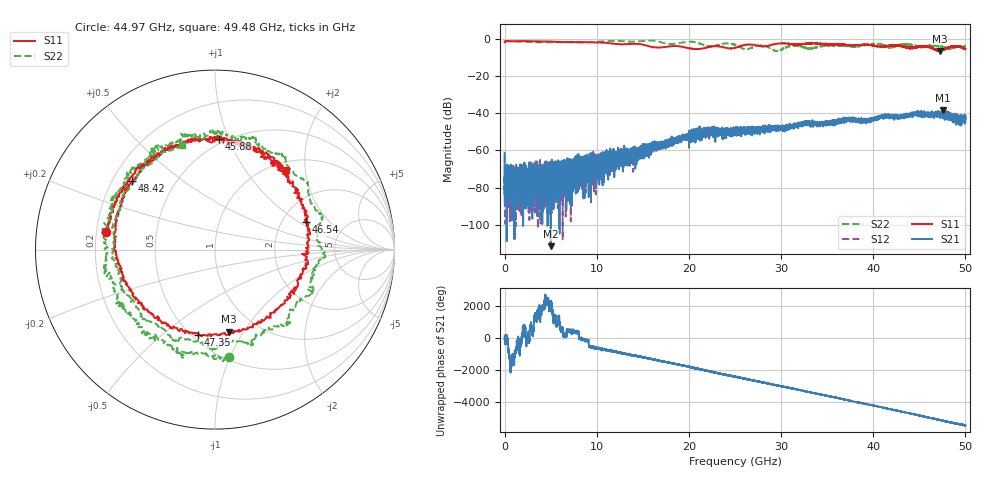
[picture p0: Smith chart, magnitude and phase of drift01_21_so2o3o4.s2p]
!Created with skrf (http://scikit-rf.org).
# Hz S RI R 50.0
!freq ReS11 ImS11 ReS21 ImS21 ReS12 ImS12 ReS22 ImS22
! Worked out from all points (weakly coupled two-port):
!   10001 points, 300 kHz to 50 GHz, reference 50 ohm
!   highest |S21| = -38.59 dB at 47.58 GHz (marker M1); lowest = -111.4 dB at 5 GHz (marker M2)
!   lowest |S11| = -6.7 dB at 47.21 GHz (marker M3), VSWR 2.73, Z = 37 - j43.1 ohm
!   |S11| at or under -10 dB: nowhere
!   |S22| runs from -6.8 to -1.0 dB; largest |S21 - S12| = 0.0042
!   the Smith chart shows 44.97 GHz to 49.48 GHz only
!   S11 on the Smith chart (normalised r, x): 44.97 GHz: 0.24, +0.07; 45.88 GHz: 0.46, +0.92; 46.54 GHz: 2.69, +1.14; 47.35 GHz: 0.54, -0.67; 48.42 GHz: 0.28, +0.33; 49.48 GHz: 1.14, +1.58
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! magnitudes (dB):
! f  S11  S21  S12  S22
! 300 kHz  -2.0  -61.4  -62.5  -1.3
! 325.3 MHz  -1.4  -78.4  -84.6  -1.3
! 5 GHz  -1.7  -111.4  -78.9  -2.1
! 8.335 GHz  -1.9  -73.9  -64.4  -2.1
! 16.67 GHz  -4.8  -57.6  -58.3  -1.6
! 21.84 GHz  -5.0  -51.1  -50.1  -3.8
! 25 GHz  -5.0  -49.6  -50.9  -3.4
! 26.18 GHz  -3.4  -47.8  -49.4  -5.7
! 28.09 GHz  -4.3  -48.0  -49.3  -3.8
! 29.52 GHz  -2.9  -47.3  -47.9  -6.7
! 31.27 GHz  -3.0  -46.9  -47.3  -4.0
! 33.34 GHz  -2.6  -46.2  -45.3  -5.5
! 41.67 GHz  -3.9  -41.1  -41.3  -4.5
! 44.97 GHz  -4.2  -40.4  -40.1  -4.4
! 45.88 GHz  -4.2  -40.6  -41.6  -4.2
! 46.54 GHz  -5.6  -41.2  -40.9  -3.9
! 47.21 GHz  -6.7  -40.3  -40.3  -4.6
! 47.35 GHz  -6.3  -40.8  -41.7  -4.7
! 47.58 GHz  -6.1  -38.6  -40.2  -4.6
! 48.42 GHz  -4.5  -42.7  -42.0  -5.0
! 49.48 GHz  -4.5  -43.4  -43.5  -4.3
! 50 GHz  -5.6  -43.0  -41.9  -4.3
